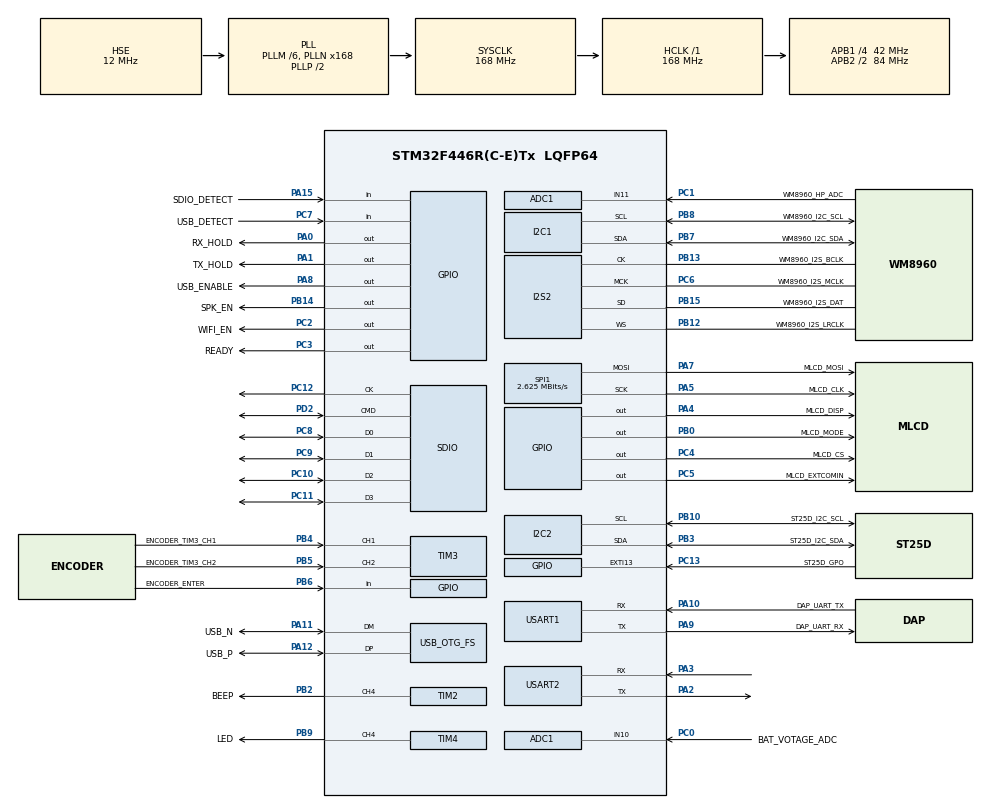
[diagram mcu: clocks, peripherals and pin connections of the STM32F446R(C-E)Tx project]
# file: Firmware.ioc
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ADC1.Channel-0\#ChannelRegularConversion=ADC_CHANNEL_10
ADC1.NbrOfConversionFlag=1
ADC1.Rank-0\#ChannelRegularConversion=1
ADC1.SamplingTime-0\#ChannelRegularConversion=ADC_SAMPLETIME_3CYCLES
ADC1.master=1
Dma.Request0=SPI2_TX
Dma.Request1=SPI1_TX
Dma.Request2=SDIO_RX
Dma.Request3=SDIO_TX
Dma.SDIO_RX.2.Direction=DMA_PERIPH_TO_MEMORY
Dma.SDIO_RX.2.FIFOMode=DMA_FIFOMODE_ENABLE
Dma.SDIO_RX.2.FIFOThreshold=DMA_FIFO_THRESHOLD_FULL
Dma.SDIO_RX.2.Instance=DMA2_Stream6
Dma.SDIO_RX.2.MemBurst=DMA_MBURST_INC4
Dma.SDIO_RX.2.MemDataAlignment=DMA_MDATAALIGN_WORD
Dma.SDIO_RX.2.MemInc=DMA_MINC_ENABLE
Dma.SDIO_RX.2.Mode=DMA_PFCTRL
Dma.SDIO_RX.2.PeriphBurst=DMA_PBURST_INC4
Dma.SDIO_RX.2.PeriphDataAlignment=DMA_PDATAALIGN_WORD
Dma.SDIO_RX.2.PeriphInc=DMA_PINC_DISABLE
Dma.SDIO_RX.2.Priority=DMA_PRIORITY_LOW
Dma.SDIO_TX.3.Direction=DMA_MEMORY_TO_PERIPH
Dma.SDIO_TX.3.FIFOMode=DMA_FIFOMODE_ENABLE
Dma.SDIO_TX.3.FIFOThreshold=DMA_FIFO_THRESHOLD_FULL
Dma.SDIO_TX.3.Instance=DMA2_Stream3
Dma.SDIO_TX.3.MemBurst=DMA_MBURST_INC4
Dma.SDIO_TX.3.MemDataAlignment=DMA_MDATAALIGN_WORD
Dma.SDIO_TX.3.MemInc=DMA_MINC_ENABLE
Dma.SDIO_TX.3.Mode=DMA_PFCTRL
Dma.SDIO_TX.3.PeriphBurst=DMA_PBURST_INC4
Dma.SDIO_TX.3.PeriphDataAlignment=DMA_PDATAALIGN_WORD
Dma.SDIO_TX.3.PeriphInc=DMA_PINC_DISABLE
Dma.SDIO_TX.3.Priority=DMA_PRIORITY_LOW
Dma.SPI1_TX.1.Direction=DMA_MEMORY_TO_PERIPH
Dma.SPI1_TX.1.FIFOMode=DMA_FIFOMODE_DISABLE
Dma.SPI1_TX.1.Instance=DMA2_Stream5
Dma.SPI1_TX.1.MemDataAlignment=DMA_MDATAALIGN_BYTE
Dma.SPI1_TX.1.MemInc=DMA_MINC_ENABLE
Dma.SPI1_TX.1.Mode=DMA_NORMAL
Dma.SPI1_TX.1.PeriphDataAlignment=DMA_PDATAALIGN_BYTE
Dma.SPI1_TX.1.PeriphInc=DMA_PINC_DISABLE
Dma.SPI1_TX.1.Priority=DMA_PRIORITY_LOW
Dma.SPI2_TX.0.Direction=DMA_MEMORY_TO_PERIPH
Dma.SPI2_TX.0.FIFOMode=DMA_FIFOMODE_DISABLE
Dma.SPI2_TX.0.Instance=DMA1_Stream4
Dma.SPI2_TX.0.MemDataAlignment=DMA_MDATAALIGN_HALFWORD
Dma.SPI2_TX.0.MemInc=DMA_MINC_ENABLE
Dma.SPI2_TX.0.Mode=DMA_NORMAL
Dma.SPI2_TX.0.PeriphDataAlignment=DMA_PDATAALIGN_HALFWORD
Dma.SPI2_TX.0.PeriphInc=DMA_PINC_DISABLE
Dma.SPI2_TX.0.Priority=DMA_PRIORITY_LOW
FATFS.BSP.number=1
FATFS._USE_LFN=2
FATFS0.BSP.STBoard=false
FATFS0.BSP.api=Unknown
FATFS0.BSP.instance=PA15
FATFS0.BSP.ip=GPIO
FATFS0.BSP.mode=Input
FATFS0.BSP.name=Detect_SDIO
FATFS0.BSP.solution=PA15
FREERTOS.Tasks01=defaultTask,24,128,StartDefaultTask,Default,NULL,Static,defaultTaskBuffer,defaultTaskControlBlock;GUITask,24,1024,StartGUITask,Default,NULL,Static,GUITaskBuffer,GUITaskControlBlock;audioTask,25,1024,StartAudioTask,Default,NULL,Static,audioTaskBuffer,audioTaskControlBlock;transferTask,26,1024,StartTransferTask,Default,NULL,Static,transferTaskBuffer,transferTaskControlBlock;sysCheckTask,27,512,StartSysCheckTask,Default,NULL,Static,sysCheckTaskBuffer,sysCheckTaskControlBlock
I2S2.AudioFreq=I2S_AUDIOFREQ_8K
I2S2.ErrorAudioFreq=1.72 %
I2S2.FullDuplexMode=I2S_FULLDUPLEXMODE_DISABLE
I2S2.Instance=SPI$Index
I2S2.RealAudioFreq=8.138 KHz
I2S2.VirtualMode=I2S_MODE_MASTER
Mcu.Family=STM32F4
Mcu.Name=STM32F446R(C-E)Tx
Mcu.Package=LQFP64
NVIC.DMA1_Stream4_IRQn=true\:6\:0\:true\:false\:true\:true\:false\:true\:true
NVIC.DMA2_Stream3_IRQn=true\:6\:0\:true\:false\:true\:true\:false\:true\:true
NVIC.DMA2_Stream5_IRQn=true\:6\:0\:true\:false\:true\:true\:false\:true\:true
NVIC.DMA2_Stream6_IRQn=true\:6\:0\:true\:false\:true\:true\:false\:true\:true
NVIC.OTG_FS_IRQn=true\:6\:0\:true\:false\:true\:true\:false\:true\:true
NVIC.PriorityGroup=NVIC_PRIORITYGROUP_4
NVIC.SDIO_IRQn=true\:5\:0\:true\:false\:true\:true\:true\:true\:true
NVIC.TIM1_UP_TIM10_IRQn=true\:15\:0\:false\:false\:true\:false\:false\:true\:true
NVIC.TimeBase=TIM1_UP_TIM10_IRQn
NVIC.TimeBaseIP=TIM1
PA0-WKUP.GPIO_Label=RX_HOLD
PA0-WKUP.Signal=GPIO_Output
PA1.GPIO_Label=TX_HOLD
PA1.Signal=GPIO_Output
PA10.GPIO_Label=DAP_UART_TX
PA10.Mode=Asynchronous
PA10.Signal=USART1_RX
PA11.GPIO_Label=USB_N
PA11.Mode=Device_Only
PA11.Signal=USB_OTG_FS_DM
PA12.GPIO_Label=USB_P
PA12.Mode=Device_Only
PA12.Signal=USB_OTG_FS_DP
PA13.Mode=Serial_Wire
PA13.Signal=SYS_JTMS-SWDIO
PA14.Mode=Serial_Wire
PA14.Signal=SYS_JTCK-SWCLK
PA15.GPIO_Label=SDIO_DETECT
PA15.Signal=GPIO_Input
PA2.Mode=Asynchronous
PA2.Signal=USART2_TX
PA3.Mode=Asynchronous
PA3.Signal=USART2_RX
PA4.GPIO_Label=MLCD_DISP
PA4.Signal=GPIO_Output
PA5.GPIO_Label=MLCD_CLK
PA5.Mode=TX_Only_Simplex_Unidirect_Master
PA5.Signal=SPI1_SCK
PA7.GPIO_Label=MLCD_MOSI
PA7.Mode=TX_Only_Simplex_Unidirect_Master
PA7.Signal=SPI1_MOSI
PA8.GPIO_Label=USB_ENABLE
PA8.Signal=GPIO_Output
PA9.GPIO_Label=DAP_UART_RX
PA9.Mode=Asynchronous
PA9.Signal=USART1_TX
PB0.GPIO_Label=MLCD_MODE
PB0.Signal=GPIO_Output
PB10.GPIO_Label=ST25D_I2C_SCL
PB10.Mode=I2C
PB10.Signal=I2C2_SCL
PB12.GPIO_Label=WM8960_I2S_LRCLK
PB12.Mode=Half_Duplex_Master
PB12.Signal=I2S2_WS
PB13.GPIO_Label=WM8960_I2S_BCLK
PB13.Mode=Half_Duplex_Master
PB13.Signal=I2S2_CK
PB14.GPIO_Label=SPK_EN
PB14.Signal=GPIO_Output
PB15.GPIO_Label=WM8960_I2S_DAT
PB15.Mode=Half_Duplex_Master
PB15.Signal=I2S2_SD
PB2.GPIO_Label=BEEP
PB2.Signal=S_TIM2_CH4
PB3.GPIO_Label=ST25D_I2C_SDA
PB3.Mode=I2C
PB3.Signal=I2C2_SDA
PB4.GPIO_Label=ENCODER_TIM3_CH1
PB4.GPIO_PuPd=GPIO_PULLUP
PB4.Signal=S_TIM3_CH1
PB5.GPIO_Label=ENCODER_TIM3_CH2
PB5.GPIO_PuPd=GPIO_PULLUP
PB5.GPIO_Speed=GPIO_SPEED_FREQ_MEDIUM
PB5.Signal=S_TIM3_CH2
PB6.GPIO_Label=ENCODER_ENTER
PB6.GPIO_PuPd=GPIO_PULLUP
PB6.Signal=GPIO_Input
PB7.GPIO_Label=WM8960_I2C_SDA
PB7.Mode=I2C
PB7.Signal=I2C1_SDA
PB8.GPIO_Label=WM8960_I2C_SCL
PB8.Mode=I2C
PB8.Signal=I2C1_SCL
PB9.GPIO_Label=LED
PB9.Signal=S_TIM4_CH4
PC0.GPIO_Label=BAT_VOTAGE_ADC
PC0.Signal=ADCx_IN10
PC1.GPIO_Label=WM8960_HP_ADC
PC1.Signal=ADCx_IN11
PC10.Mode=SD_4_bits_Wide_bus
PC10.Signal=SDIO_D2
PC11.Mode=SD_4_bits_Wide_bus
PC11.Signal=SDIO_D3
PC12.Mode=SD_4_bits_Wide_bus
PC12.Signal=SDIO_CK
PC13.GPIO_Label=ST25D_GPO
PC13.Signal=GPXTI13
PC14-OSC32_IN.Mode=LSE-External-Oscillator
PC14-OSC32_IN.Signal=RCC_OSC32_IN
PC15-OSC32_OUT.Mode=LSE-External-Oscillator
PC15-OSC32_OUT.Signal=RCC_OSC32_OUT
PC2.GPIO_Label=WIFI_EN
PC2.Signal=GPIO_Output
PC3.GPIO_Label=READY
PC3.Signal=GPIO_Output
PC4.GPIO_Label=MLCD_CS
PC4.Signal=GPIO_Output
PC5.GPIO_Label=MLCD_EXTCOMIN
PC5.Signal=GPIO_Output
PC6.GPIO_Label=WM8960_I2S_MCLK
PC6.Mode=Master_Clock_Activated
PC6.Signal=I2S2_MCK
PC7.GPIO_Label=USB_DETECT
PC7.Signal=GPIO_Input
PC8.Mode=SD_4_bits_Wide_bus
PC8.Signal=SDIO_D0
PC9.Mode=SD_4_bits_Wide_bus
PC9.Signal=SDIO_D1
PD2.Mode=SD_4_bits_Wide_bus
PD2.Signal=SDIO_CMD
PH0-OSC_IN.Mode=HSE-External-Oscillator
PH0-OSC_IN.Signal=RCC_OSC_IN
PH1-OSC_OUT.Mode=HSE-External-Oscillator
PH1-OSC_OUT.Signal=RCC_OSC_OUT
ProjectManager.HeapSize=0x800
ProjectManager.StackSize=0x2000
ProjectManager.TargetToolchain=CMake
RCC.AHBFreq_Value=168000000
RCC.APB1CLKDivider=RCC_HCLK_DIV4
RCC.APB1Freq_Value=42000000
RCC.APB1TimFreq_Value=84000000
RCC.APB2CLKDivider=RCC_HCLK_DIV2
RCC.APB2Freq_Value=84000000
RCC.APB2TimFreq_Value=168000000
RCC.CortexFreq_Value=168000000
RCC.HCLKFreq_Value=168000000
RCC.HSE_VALUE=12000000
RCC.PLLI2SM=6
RCC.PLLI2SN=50
RCC.PLLM=6
RCC.PLLN=168
RCC.PLLQ=7
RCC.SYSCLKFreq_VALUE=168000000
RCC.SYSCLKSource=RCC_SYSCLKSOURCE_PLLCLK
RCC.USBFreq_Value=48000000
RCC.VCOOutputFreq_Value=336000000
SDIO.ClockDiv=4
SDIO.HardwareFlowControl=SDIO_HARDWARE_FLOW_CONTROL_DISABLE
SH.ADCx_IN10.0=ADC1_IN10,IN10
SH.ADCx_IN11.0=ADC1_IN11,IN11
SH.S_TIM2_CH4.0=TIM2_CH4,PWM Generation4 CH4
SH.S_TIM3_CH1.0=TIM3_CH1,Encoder_Interface
SH.S_TIM3_CH2.0=TIM3_CH2,Encoder_Interface
SH.S_TIM4_CH4.0=TIM4_CH4,Forced Output4 CH4
SPI1.BaudRatePrescaler=SPI_BAUDRATEPRESCALER_32
SPI1.CalculateBaudRate=2.625 MBits/s
SPI1.Direction=SPI_DIRECTION_2LINES
SPI1.FirstBit=SPI_FIRSTBIT_LSB
SPI1.Mode=SPI_MODE_MASTER
SPI1.VirtualType=VM_MASTER
STMicroelectronics.X-CUBE-AI.10.2.1.ActivationBufferSizeList=15524
STMicroelectronics.X-CUBE-AI.10.2.1.ActivationBuffers=pool0
STMicroelectronics.X-CUBE-AI.10.2.1.ActivationNames=pool0
STMicroelectronics.X-CUBE-AI.10.2.1.ActivationSizes=AI_ACHO_KEYWORD_CNN_DATA_ACTIVATION_1_SIZE
STMicroelectronics.X-CUBE-AI.10.2.1.HeapSize=0x800
STMicroelectronics.X-CUBE-AI.10.2.1.InternalRamActivationBufferMaxSize=AI_ACHO_KEYWORD_CNN_DATA_ACTIVATIONS_SIZE
STMicroelectronics.X-CUBE-AI.10.2.1.LatestDirectoryUsed-a8f2203f082232580f2b89d1e2e7006844756289fc3bc0bf6f8517cbbf022819=C\:\\Users\\Chase Wu\\Desktop
STMicroelectronics.X-CUBE-AI.10.2.1.MaximumNumberOfInputLayer=1
STMicroelectronics.X-CUBE-AI.10.2.1.MaximumNumberOfOutputLayer=1
STMicroelectronics.X-CUBE-AI.10.2.1.MaximumSizeOfInputLayer=1
STMicroelectronics.X-CUBE-AI.10.2.1.MaximumSizeOfOutputLayer=1
STMicroelectronics.X-CUBE-AI.10.2.1.ModelActualCompression-a8f2203f082232580f2b89d1e2e7006844756289fc3bc0bf6f8517cbbf022819=0.0
STMicroelectronics.X-CUBE-AI.10.2.1.ModelCompression-a8f2203f082232580f2b89d1e2e7006844756289fc3bc0bf6f8517cbbf022819=Medium
STMicroelectronics.X-CUBE-AI.10.2.1.ModelFlashOccupation-a8f2203f082232580f2b89d1e2e7006844756289fc3bc0bf6f8517cbbf022819=27052
STMicroelectronics.X-CUBE-AI.10.2.1.ModelHashList=a8f2203f082232580f2b89d1e2e7006844756289fc3bc0bf6f8517cbbf022819
STMicroelectronics.X-CUBE-AI.10.2.1.ModelKind-a8f2203f082232580f2b89d1e2e7006844756289fc3bc0bf6f8517cbbf022819=ONNX
STMicroelectronics.X-CUBE-AI.10.2.1.ModelMacc-a8f2203f082232580f2b89d1e2e7006844756289fc3bc0bf6f8517cbbf022819=97527
STMicroelectronics.X-CUBE-AI.10.2.1.ModelName-a8f2203f082232580f2b89d1e2e7006844756289fc3bc0bf6f8517cbbf022819=acho_keyword_cnn
STMicroelectronics.X-CUBE-AI.10.2.1.ModelNameList=acho_keyword_cnn
STMicroelectronics.X-CUBE-AI.10.2.1.ModelRamOccupation-a8f2203f082232580f2b89d1e2e7006844756289fc3bc0bf6f8517cbbf022819=15524
STMicroelectronics.X-CUBE-AI.10.2.1.ModelStructureFile-a8f2203f082232580f2b89d1e2e7006844756289fc3bc0bf6f8517cbbf022819=C\:\\Users\\Chase Wu\\Desktop\\keyword_cnn.onnx
STMicroelectronics.X-CUBE-AI.10.2.1.ModelType-a8f2203f082232580f2b89d1e2e7006844756289fc3bc0bf6f8517cbbf022819=STM32Cube.AI MCU runtime
STMicroelectronics.X-CUBE-AI.10.2.1.ReadyForCodeGeneration=true
STMicroelectronics.X-CUBE-AI.10.2.1.StackSize=0x2000
STMicroelectronics.X-CUBE-AI.10.2.1.WorkingBufferStartAddrList=0xFFFFFFFF
STMicroelectronics.X-CUBE-AI.10.2.1.XAaCUBEAaAICcArtificialOoIntelligenceJjCore=true
STMicroelectronics.X-CUBE-AI.10.2.1.copyWeightToRam=false
STMicroelectronics.X-CUBE-AI.10.2.1.copyWeightToRam-a8f2203f082232580f2b89d1e2e7006844756289fc3bc0bf6f8517cbbf022819=false
STMicroelectronics.X-CUBE-AI.10.2.1.customLayerConfigEnabled=false
STMicroelectronics.X-CUBE-AI.10.2.1.customLayerConfigEnabled-a8f2203f082232580f2b89d1e2e7006844756289fc3bc0bf6f8517cbbf022819=false
STMicroelectronics.X-CUBE-AI.10.2.1.noOnnxIoTranspose=false
STMicroelectronics.X-CUBE-AI.10.2.1.noOnnxIoTranspose-a8f2203f082232580f2b89d1e2e7006844756289fc3bc0bf6f8517cbbf022819=false
STMicroelectronics.X-CUBE-AI.10.2.1.optimization=ram
STMicroelectronics.X-CUBE-AI.10.2.1.useInputAllocation=true
STMicroelectronics.X-CUBE-AI.10.2.1.useInputAllocation-a8f2203f082232580f2b89d1e2e7006844756289fc3bc0bf6f8517cbbf022819=true
STMicroelectronics.X-CUBE-AI.10.2.1.useOutputAllocation=true
STMicroelectronics.X-CUBE-AI.10.2.1.useOutputAllocation-a8f2203f082232580f2b89d1e2e7006844756289fc3bc0bf6f8517cbbf022819=true
STMicroelectronics.X-CUBE-ALGOBUILD.1.5.0.LibraryCcDSPOoLibraryJjDSPOoLibrary=true
STMicroelectronics.X-CUBE-NFC4.3.0.0.NFCCcBoardOoPartJjNFC4JjST25DV=true
TIM2.Channel-PWM\ Generation4\ CH4=TIM_CHANNEL_4
TIM2.Period=10000
TIM2.Prescaler=168
TIM4.Channel-Forced\ Output4\ CH4=TIM_CHANNEL_4
USART1.VirtualMode=VM_ASYNC
USART2.VirtualMode=VM_ASYNC
USB_DEVICE.CLASS_NAME_FS=MSC
USB_DEVICE.VirtualMode-MSC_FS=Msc
USB_DEVICE.VirtualModeFS=Msc_FS
USB_OTG_FS.VirtualMode=Device_Only
VP_FATFS_VS_SDIO.Mode=SDIO
VP_FREERTOS_VS_CMSIS_V2.Mode=CMSIS_V2
VP_STMicroelectronics.X-CUBE-AI_VS_ArtificialOoIntelligenceJjXAaCUBEAaAI_10.2.1.Mode=ArtificialOoIntelligenceJjXAaCUBEAaAI
VP_STMicroelectronics.X-CUBE-ALGOBUILD_VS_DSPOoLibraryJjLibrary_1.5.0_1.5.0.Mode=DSPOoLibraryJjLibrary
VP_STMicroelectronics.X-CUBE-NFC4_VS_BoardOoPartJjNFC_3.0.0_3.0.0.Mode=BoardOoPartJjNFC
VP_SYS_VS_tim1.Mode=TIM1
VP_USB_DEVICE_VS_USB_DEVICE_MSC_FS.Mode=MSC_FS
board=custom

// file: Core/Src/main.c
/* USER CODE BEGIN Header */
/**
  ******************************************************************************
  * @file           : main.c
  * @brief          : Main program body
  ******************************************************************************
  * @attention
  *
  * Copyright (c) 2022 STMicroelectronics.
  * All rights reserved.
  *
  * This software is licensed under terms that can be found in the LICENSE file
  * in the root directory of this software component.
  * If no LICENSE file comes with this software, it is provided AS-IS.
  *
  ******************************************************************************
  */

/* USER CODE END Header */
#include "main.h"
#include "cmsis_os.h"
#include "adc.h"
#include "dma.h"
#include "fatfs.h"
#include "i2c.h"
#include "i2s.h"
#include "sdio.h"
#include "spi.h"
#include "tim.h"
#include "usart.h"
#include "usb_device.h"
#include "gpio.h"

/* USER CODE BEGIN Includes */
#include "fops.h"
#include "ff.h"
#include "bsp_delay.h"
#include "lvgl.h"
#include "bsp_usart.h"
#include "bsp_buzzer.h"
#include "bsp_flashlight.h"
/* USER CODE END Includes */

void SystemClock_Config(void);
void MX_FREERTOS_Init(void);

int main(void)
{

  /* MCU Configuration--------------------------------------------------------*/

  /* Reset of all peripherals, Initializes the Flash interface and the Systick. */
  HAL_Init();

  /* Configure the system clock */
  SystemClock_Config();

  /* Initialize all configured peripherals */
  MX_GPIO_Init();
  MX_DMA_Init();
  MX_ADC1_Init();
  MX_I2C1_Init();
  MX_I2C2_Init();
  MX_I2S2_Init();
  MX_SDIO_SD_Init();
  MX_SPI1_Init();
  MX_TIM2_Init();
  MX_TIM3_Init();
  MX_TIM4_Init();
  MX_USART1_UART_Init();
  MX_USART2_UART_Init();
  MX_FATFS_Init();
  /* USER CODE BEGIN 2 */
  if (Buzzer_Init() != HAL_OK || Flashlight_Init() != HAL_OK) Error_Handler();
  delay_init();
  /* Reset ESP32-C3 through EN, then allow it to boot. */
  HAL_GPIO_WritePin(WIFI_EN_GPIO_Port, WIFI_EN_Pin, GPIO_PIN_RESET);
  HAL_Delay(100);
  HAL_GPIO_WritePin(WIFI_EN_GPIO_Port, WIFI_EN_Pin, GPIO_PIN_SET);
  delay_ms(1000);

  /* USER CODE END 2 */

  /* Init scheduler */
  osKernelInitialize();  /* Call init function for freertos objects (in cmsis_os2.c) */
  MX_FREERTOS_Init();

  /* Start scheduler */
  osKernelStart();

  /* We should never get here as control is now taken by the scheduler */

  /* Infinite loop */
    while (1)
    {

    }
}

void SystemClock_Config(void)
{
  RCC_OscInitTypeDef RCC_OscInitStruct = {0};
  RCC_ClkInitTypeDef RCC_ClkInitStruct = {0};

  /** Configure the main internal regulator output voltage
  */
  __HAL_RCC_PWR_CLK_ENABLE();
  __HAL_PWR_VOLTAGESCALING_CONFIG(PWR_REGULATOR_VOLTAGE_SCALE1);

  /** Initializes the RCC Oscillators according to the specified parameters
  * in the RCC_OscInitTypeDef structure.
  */
  RCC_OscInitStruct.OscillatorType = RCC_OSCILLATORTYPE_HSE;
  RCC_OscInitStruct.HSEState = RCC_HSE_ON;
  RCC_OscInitStruct.PLL.PLLState = RCC_PLL_ON;
  RCC_OscInitStruct.PLL.PLLSource = RCC_PLLSOURCE_HSE;
  RCC_OscInitStruct.PLL.PLLM = 6;
  RCC_OscInitStruct.PLL.PLLN = 168;
  RCC_OscInitStruct.PLL.PLLP = RCC_PLLP_DIV2;
  RCC_OscInitStruct.PLL.PLLQ = 7;
  RCC_OscInitStruct.PLL.PLLR = 2;
  if (HAL_RCC_OscConfig(&RCC_OscInitStruct) != HAL_OK)
  {
    Error_Handler();
  }

  /** Initializes the CPU, AHB and APB buses clocks
  */
  RCC_ClkInitStruct.ClockType = RCC_CLOCKTYPE_HCLK|RCC_CLOCKTYPE_SYSCLK
                              |RCC_CLOCKTYPE_PCLK1|RCC_CLOCKTYPE_PCLK2;
  RCC_ClkInitStruct.SYSCLKSource = RCC_SYSCLKSOURCE_PLLCLK;
  RCC_ClkInitStruct.AHBCLKDivider = RCC_SYSCLK_DIV1;
  RCC_ClkInitStruct.APB1CLKDivider = RCC_HCLK_DIV4;
  RCC_ClkInitStruct.APB2CLKDivider = RCC_HCLK_DIV2;

  if (HAL_RCC_ClockConfig(&RCC_ClkInitStruct, FLASH_LATENCY_5) != HAL_OK)
  {
    Error_Handler();
  }
}

void HAL_TIM_PeriodElapsedCallback(TIM_HandleTypeDef *htim)
{
  if (htim->Instance == TIM1)
  {
    HAL_IncTick();
  }
  /* USER CODE BEGIN Callback 1 */
  if (htim->Instance == TIM1) {  // 1ms
    lv_tick_inc(1);
    Buzzer_Tick1ms();
  }
  /* USER CODE END Callback 1 */
}

void Error_Handler(void)
{
  __disable_irq();
  while (1)
  {
  }
}

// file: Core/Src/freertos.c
/* USER CODE BEGIN Header */
/**
  ******************************************************************************
  * File Name          : freertos.c
  * Description        : Code for freertos applications
  ******************************************************************************
  * @attention
  *
  * Copyright (c) 2022 STMicroelectronics.
  * All rights reserved.
  *
  * This software is licensed under terms that can be found in the LICENSE file
  * in the root directory of this software component.
  * If no LICENSE file comes with this software, it is provided AS-IS.
  *
  ******************************************************************************
  */
#include "lvgl.h"
#include "lv_port_disp.h"
#include "lv_port_fs.h"
#include "lv_port_indev.h"
#include "bsp_key.h"
#include "sdio.h"
#include "ff.h"
#include "fatfs.h"
#include "pages/page_main.h"
#include "gui_setup.h"
#include "fops.h"
#include "bsp_usart.h"
#include "transfer_link.h"
#include "nfc_service.h"
#include "pages/page_wifi.h"
#include "pages/page_audio.h"
#include "WM8960Apps.h"
#include "mlcd.h"
/* USER CODE END Header */

#include "FreeRTOS.h"
#include "task.h"
#include "main.h"
#include "cmsis_os.h"

typedef StaticTask_t osStaticThreadDef_t;
/* USER CODE BEGIN PTD */
extern TIM_HandleTypeDef htim3;
/* USER CODE END PTD */

/* Definitions for defaultTask */
osThreadId_t defaultTaskHandle;
uint32_t defaultTaskBuffer[ 128 ];
osStaticThreadDef_t defaultTaskControlBlock;
const osThreadAttr_t defaultTask_attributes = {
  .name = "defaultTask",
  .cb_mem = &defaultTaskControlBlock,
  .cb_size = sizeof(defaultTaskControlBlock),
  .stack_mem = &defaultTaskBuffer[0],
  .stack_size = sizeof(defaultTaskBuffer),
  .priority = (osPriority_t) osPriorityNormal,
};
/* Definitions for GUITask */
osThreadId_t GUITaskHandle;
uint32_t GUITaskBuffer[ 1024 ];
osStaticThreadDef_t GUITaskControlBlock;
const osThreadAttr_t GUITask_attributes = {
  .name = "GUITask",
  .cb_mem = &GUITaskControlBlock,
  .cb_size = sizeof(GUITaskControlBlock),
  .stack_mem = &GUITaskBuffer[0],
  .stack_size = sizeof(GUITaskBuffer),
  .priority = (osPriority_t) osPriorityNormal,
};
/* Definitions for audioTask */
osThreadId_t audioTaskHandle;
uint32_t audioTaskBuffer[ 1024 ];
osStaticThreadDef_t audioTaskControlBlock;
const osThreadAttr_t audioTask_attributes = {
  .name = "audioTask",
  .cb_mem = &audioTaskControlBlock,
  .cb_size = sizeof(audioTaskControlBlock),
  .stack_mem = &audioTaskBuffer[0],
  .stack_size = sizeof(audioTaskBuffer),
  .priority = (osPriority_t) osPriorityNormal1,
};
/* Definitions for transferTask */
osThreadId_t transferTaskHandle;
uint32_t transferTaskBuffer[ 1024 ];
osStaticThreadDef_t transferTaskControlBlock;
const osThreadAttr_t transferTask_attributes = {
  .name = "transferTask",
  .cb_mem = &transferTaskControlBlock,
  .cb_size = sizeof(transferTaskControlBlock),
  .stack_mem = &transferTaskBuffer[0],
  .stack_size = sizeof(transferTaskBuffer),
  .priority = (osPriority_t) osPriorityNormal2,
};
/* Definitions for sysCheckTask */
osThreadId_t sysCheckTaskHandle;
uint32_t sysCheckTaskBuffer[ 512 ];
osStaticThreadDef_t sysCheckTaskControlBlock;
const osThreadAttr_t sysCheckTask_attributes = {
  .name = "sysCheckTask",
  .cb_mem = &sysCheckTaskControlBlock,
  .cb_size = sizeof(sysCheckTaskControlBlock),
  .stack_mem = &sysCheckTaskBuffer[0],
  .stack_size = sizeof(sysCheckTaskBuffer),
  .priority = (osPriority_t) osPriorityNormal3,
};

void StartDefaultTask(void *argument);
void StartGUITask(void *argument);
void StartAudioTask(void *argument);
void StartTransferTask(void *argument);
void StartSysCheckTask(void *argument);

extern void MX_USB_DEVICE_Init(void);
void MX_FREERTOS_Init(void); /* (MISRA C 2004 rule 8.1) */

void MX_FREERTOS_Init(void) {

  /* Create the thread(s) */
  /* creation of defaultTask */
  defaultTaskHandle = osThreadNew(StartDefaultTask, NULL, &defaultTask_attributes);

  /* creation of GUITask */
  GUITaskHandle = osThreadNew(StartGUITask, NULL, &GUITask_attributes);

  /* creation of audioTask */
  audioTaskHandle = osThreadNew(StartAudioTask, NULL, &audioTask_attributes);

  /* creation of transferTask */
  transferTaskHandle = osThreadNew(StartTransferTask, NULL, &transferTask_attributes);

  /* creation of sysCheckTask */
  sysCheckTaskHandle = osThreadNew(StartSysCheckTask, NULL, &sysCheckTask_attributes);

  /* USER CODE BEGIN RTOS_THREADS */
  vTaskSuspend(GUITaskHandle);
  vTaskSuspend(audioTaskHandle);
  vTaskSuspend(transferTaskHandle);
  vTaskSuspend(sysCheckTaskHandle);

  /* USER CODE END RTOS_THREADS */

}

void StartDefaultTask(void *argument)
{
  /* init code for USB_DEVICE */
  MX_USB_DEVICE_Init();
  /* USER CODE BEGIN StartDefaultTask */
    static portTickType PreviousWakeTime;
    const portTickType TimeIncrement = pdMS_TO_TICKS(1000);
    PreviousWakeTime = xTaskGetTickCount();
    lv_init();
    lv_port_disp_init();
    lv_port_indev_init();
    lv_port_fs_init();
    GUIInit();
    Transfer_Init();
    NfcService_Init();
    vTaskResume(transferTaskHandle);
    HAL_TIM_Encoder_Start(&htim3,TIM_CHANNEL_ALL);
    // HAL_GPIO_WritePin(USB_ENABLE_GPIO_Port, USB_ENABLE_Pin, GPIO_PIN_SET);
    vTaskResume(GUITaskHandle);
    vTaskResume(audioTaskHandle);
    vTaskResume(transferTaskHandle);
    vTaskResume(sysCheckTaskHandle);
    /* Infinite loop */
    for (;;) {

        vTaskDelayUntil(&PreviousWakeTime, TimeIncrement);
    }
  /* USER CODE END StartDefaultTask */
}

void StartGUITask(void *argument)
{
  /* USER CODE BEGIN StartGUITask */
  static portTickType PreviousWakeTime;
  const portTickType TimeIncrement = pdMS_TO_TICKS(5);
  FRESULT mount_result;
  PreviousWakeTime = xTaskGetTickCount();

  mount_result = f_mount(&SDFatFS, SDPath, 1);
  Printf("SD mount: %s (%d)\r\n",
         (mount_result == FR_OK) ? "OK" : "failed",
         (int)mount_result);
  Transfer_SetStorageReady(mount_result == FR_OK);
  exf_showfree((uint8_t*)"0:");
  if (mount_result == FR_OK) vTaskResume(audioTaskHandle);
  setup_ui(&ui_main, &ui_ROOT, NULL);
  WifiPage_Init();
  /* Infinite loop */
  for(;;)
  {
    Transfer_PollCallbacks();
    lv_task_handler();
    mlcd_Service();
    vTaskDelayUntil(&PreviousWakeTime, TimeIncrement);
  }
  /* USER CODE END StartGUITask */
}

void StartAudioTask(void *argument)
{
  /* USER CODE BEGIN StartAudioTask */
  /* Infinite loop */
  for(;;)
  {
    PlayWaveFile(global_BUFF);
    /* During playback the driver blocks on DMA notifications. This delay is
       only the idle command poll; it does not pace the audio stream. */
    vTaskDelay(pdMS_TO_TICKS(10));
  }
  /* USER CODE END StartAudioTask */
}

void StartTransferTask(void *argument)
{
  /* USER CODE BEGIN StartTransferTask */
  Transfer_Task();
  /* USER CODE END StartTransferTask */
}

void StartSysCheckTask(void *argument)
{
  /* USER CODE BEGIN StartSysCheckTask */
  static portTickType PreviousWakeTime;
  const portTickType TimeIncrement = pdMS_TO_TICKS(100);
  PreviousWakeTime = xTaskGetTickCount();
  /* Infinite loop */
  for(;;)
  {
    vTaskDelayUntil(&PreviousWakeTime, TimeIncrement);
  }
  /* USER CODE END StartSysCheckTask */
}
